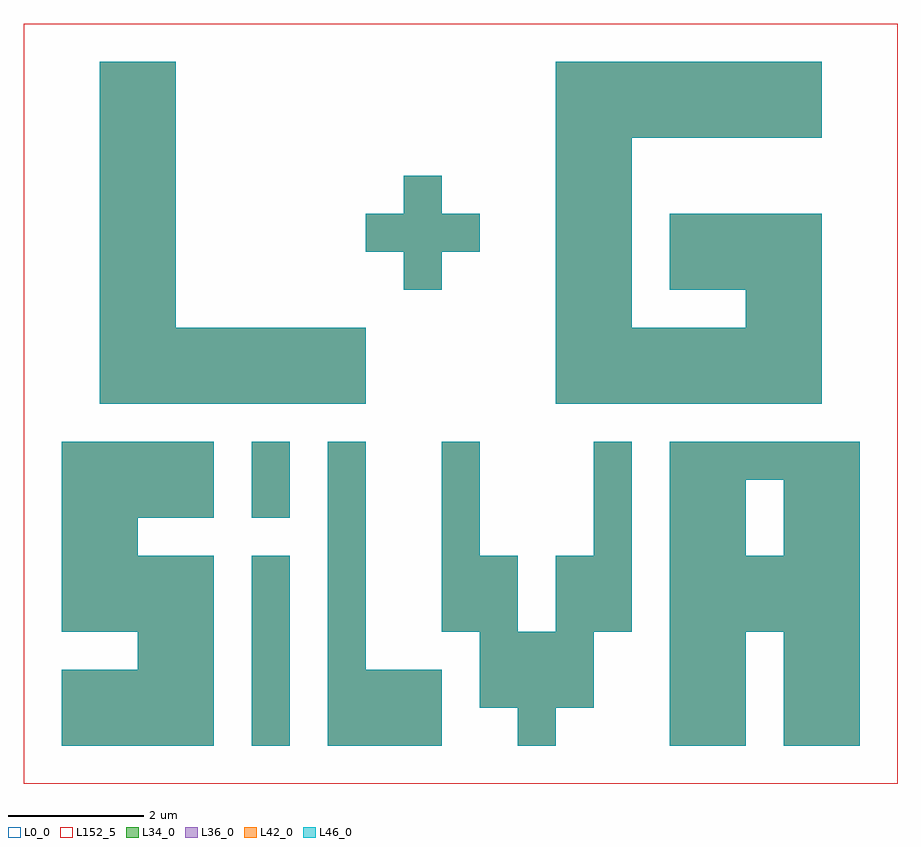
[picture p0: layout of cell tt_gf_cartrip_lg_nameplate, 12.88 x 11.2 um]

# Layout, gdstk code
import gdstk
lib = gdstk.Library(unit=1e-6, precision=1e-09)
def R(c, l, rs):  # rectangles x0, y0, x1, y1
    for r in rs: c.add(gdstk.rectangle(r[:2], r[2:], *l))
def P(c, l, *ps):  # polygons
    for p in ps: c.add(gdstk.Polygon(p, *l))
L0_0 = (0, 0)
L34_0 = (34, 0)
L36_0 = (36, 0)
L42_0 = (42, 0)
L46_0 = (46, 0)
L152_5 = (152, 5)

tt_gf_cartrip_lg_namepla = lib.new_cell('tt_gf_cartrip_lg_nameplate')
R(tt_gf_cartrip_lg_namepla, L0_0, [(0,0,12.88,11.2)])
R(tt_gf_cartrip_lg_namepla, L34_0, [(3.36,0.56,3.92,3.36), (3.36,3.92,3.92,5.04)])
P(tt_gf_cartrip_lg_namepla, L34_0, [(0.56,0.56),(0.56,1.68),(1.68,1.68),(1.68,2.24),(0.56,2.24),(0.56,5.04),(2.8,5.04),(2.8,3.92),(1.68,3.92),(1.68,3.36),(2.8,3.36),(2.8,0.56)],
  [(4.48,0.56),(4.48,5.04),(5.04,5.04),(5.04,1.68),(6.16,1.68),(6.16,0.56)],
  [(7.28,0.56),(7.28,1.12),(6.72,1.12),(6.72,2.24),(6.16,2.24),(6.16,5.04),(6.72,5.04),(6.72,3.36),(7.28,3.36),(7.28,2.24),(7.84,2.24),(7.84,3.36),(8.4,3.36),(8.4,5.04),(8.96,5.04),(8.96,2.24),(8.4,2.24),(8.4,1.12),(7.84,1.12),(7.84,0.56)],
  [(9.52,0.56),(9.52,4.48),(10.64,4.48),(10.64,3.36),(11.2,3.36),(11.2,4.48),(9.52,4.48),(9.52,5.04),(12.32,5.04),(12.32,0.56),(11.2,0.56),(11.2,2.24),(10.64,2.24),(10.64,0.56)],
  [(5.6,7.28),(5.6,7.84),(5.04,7.84),(5.04,8.4),(5.6,8.4),(5.6,8.96),(6.16,8.96),(6.16,8.4),(6.72,8.4),(6.72,7.84),(6.16,7.84),(6.16,7.28)],
  [(1.12,5.6),(1.12,10.64),(2.24,10.64),(2.24,6.72),(5.04,6.72),(5.04,5.6)],
  [(7.84,5.6),(7.84,10.64),(11.76,10.64),(11.76,9.52),(8.96,9.52),(8.96,6.72),(10.64,6.72),(10.64,7.28),(9.52,7.28),(9.52,8.4),(11.76,8.4),(11.76,5.6)])
R(tt_gf_cartrip_lg_namepla, L36_0, [(3.36,0.56,3.92,3.36), (3.36,3.92,3.92,5.04)])
P(tt_gf_cartrip_lg_namepla, L36_0, [(0.56,0.56),(0.56,1.68),(1.68,1.68),(1.68,2.24),(0.56,2.24),(0.56,5.04),(2.8,5.04),(2.8,3.92),(1.68,3.92),(1.68,3.36),(2.8,3.36),(2.8,0.56)],
  [(4.48,0.56),(4.48,5.04),(5.04,5.04),(5.04,1.68),(6.16,1.68),(6.16,0.56)],
  [(7.28,0.56),(7.28,1.12),(6.72,1.12),(6.72,2.24),(6.16,2.24),(6.16,5.04),(6.72,5.04),(6.72,3.36),(7.28,3.36),(7.28,2.24),(7.84,2.24),(7.84,3.36),(8.4,3.36),(8.4,5.04),(8.96,5.04),(8.96,2.24),(8.4,2.24),(8.4,1.12),(7.84,1.12),(7.84,0.56)],
  [(9.52,0.56),(9.52,4.48),(10.64,4.48),(10.64,3.36),(11.2,3.36),(11.2,4.48),(9.52,4.48),(9.52,5.04),(12.32,5.04),(12.32,0.56),(11.2,0.56),(11.2,2.24),(10.64,2.24),(10.64,0.56)],
  [(5.6,7.28),(5.6,7.84),(5.04,7.84),(5.04,8.4),(5.6,8.4),(5.6,8.96),(6.16,8.96),(6.16,8.4),(6.72,8.4),(6.72,7.84),(6.16,7.84),(6.16,7.28)],
  [(1.12,5.6),(1.12,10.64),(2.24,10.64),(2.24,6.72),(5.04,6.72),(5.04,5.6)],
  [(7.84,5.6),(7.84,10.64),(11.76,10.64),(11.76,9.52),(8.96,9.52),(8.96,6.72),(10.64,6.72),(10.64,7.28),(9.52,7.28),(9.52,8.4),(11.76,8.4),(11.76,5.6)])
R(tt_gf_cartrip_lg_namepla, L42_0, [(3.36,0.56,3.92,3.36), (3.36,3.92,3.92,5.04)])
P(tt_gf_cartrip_lg_namepla, L42_0, [(0.56,0.56),(0.56,1.68),(1.68,1.68),(1.68,2.24),(0.56,2.24),(0.56,5.04),(2.8,5.04),(2.8,3.92),(1.68,3.92),(1.68,3.36),(2.8,3.36),(2.8,0.56)],
  [(4.48,0.56),(4.48,5.04),(5.04,5.04),(5.04,1.68),(6.16,1.68),(6.16,0.56)],
  [(7.28,0.56),(7.28,1.12),(6.72,1.12),(6.72,2.24),(6.16,2.24),(6.16,5.04),(6.72,5.04),(6.72,3.36),(7.28,3.36),(7.28,2.24),(7.84,2.24),(7.84,3.36),(8.4,3.36),(8.4,5.04),(8.96,5.04),(8.96,2.24),(8.4,2.24),(8.4,1.12),(7.84,1.12),(7.84,0.56)],
  [(9.52,0.56),(9.52,4.48),(10.64,4.48),(10.64,3.36),(11.2,3.36),(11.2,4.48),(9.52,4.48),(9.52,5.04),(12.32,5.04),(12.32,0.56),(11.2,0.56),(11.2,2.24),(10.64,2.24),(10.64,0.56)],
  [(5.6,7.28),(5.6,7.84),(5.04,7.84),(5.04,8.4),(5.6,8.4),(5.6,8.96),(6.16,8.96),(6.16,8.4),(6.72,8.4),(6.72,7.84),(6.16,7.84),(6.16,7.28)],
  [(1.12,5.6),(1.12,10.64),(2.24,10.64),(2.24,6.72),(5.04,6.72),(5.04,5.6)],
  [(7.84,5.6),(7.84,10.64),(11.76,10.64),(11.76,9.52),(8.96,9.52),(8.96,6.72),(10.64,6.72),(10.64,7.28),(9.52,7.28),(9.52,8.4),(11.76,8.4),(11.76,5.6)])
R(tt_gf_cartrip_lg_namepla, L46_0, [(3.36,0.56,3.92,3.36), (3.36,3.92,3.92,5.04)])
P(tt_gf_cartrip_lg_namepla, L46_0, [(0.56,0.56),(0.56,1.68),(1.68,1.68),(1.68,2.24),(0.56,2.24),(0.56,5.04),(2.8,5.04),(2.8,3.92),(1.68,3.92),(1.68,3.36),(2.8,3.36),(2.8,0.56)],
  [(4.48,0.56),(4.48,5.04),(5.04,5.04),(5.04,1.68),(6.16,1.68),(6.16,0.56)],
  [(7.28,0.56),(7.28,1.12),(6.72,1.12),(6.72,2.24),(6.16,2.24),(6.16,5.04),(6.72,5.04),(6.72,3.36),(7.28,3.36),(7.28,2.24),(7.84,2.24),(7.84,3.36),(8.4,3.36),(8.4,5.04),(8.96,5.04),(8.96,2.24),(8.4,2.24),(8.4,1.12),(7.84,1.12),(7.84,0.56)],
  [(9.52,0.56),(9.52,4.48),(10.64,4.48),(10.64,3.36),(11.2,3.36),(11.2,4.48),(9.52,4.48),(9.52,5.04),(12.32,5.04),(12.32,0.56),(11.2,0.56),(11.2,2.24),(10.64,2.24),(10.64,0.56)],
  [(5.6,7.28),(5.6,7.84),(5.04,7.84),(5.04,8.4),(5.6,8.4),(5.6,8.96),(6.16,8.96),(6.16,8.4),(6.72,8.4),(6.72,7.84),(6.16,7.84),(6.16,7.28)],
  [(1.12,5.6),(1.12,10.64),(2.24,10.64),(2.24,6.72),(5.04,6.72),(5.04,5.6)],
  [(7.84,5.6),(7.84,10.64),(11.76,10.64),(11.76,9.52),(8.96,9.52),(8.96,6.72),(10.64,6.72),(10.64,7.28),(9.52,7.28),(9.52,8.4),(11.76,8.4),(11.76,5.6)])
R(tt_gf_cartrip_lg_namepla, L152_5, [(0,0,12.88,11.2)])

lib.write_gds('tt_gf_cartrip_lg_nameplate.gds')
